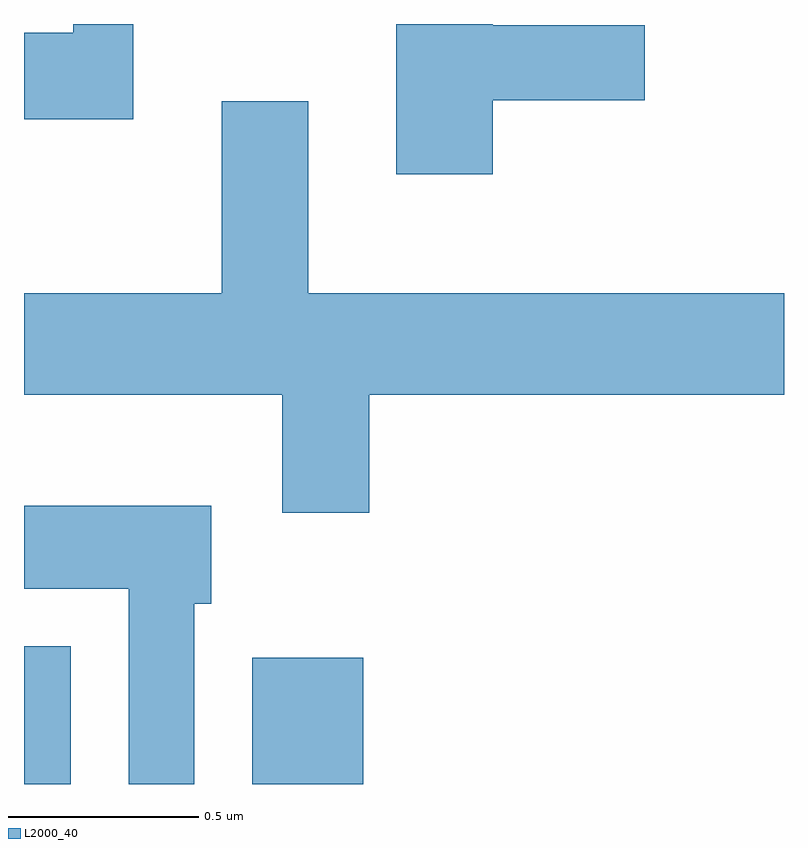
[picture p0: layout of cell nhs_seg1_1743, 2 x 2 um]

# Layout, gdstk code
import gdstk
lib = gdstk.Library(unit=1e-6, precision=1e-09)
def R(c, l, rs):  # rectangles x0, y0, x1, y1
    for r in rs: c.add(gdstk.rectangle(r[:2], r[2:], *l))
def P(c, l, *ps):  # polygons
    for p in ps: c.add(gdstk.Polygon(p, *l))
L2000_40 = (2000, 40)

nhs_seg1_1743 = lib.new_cell('nhs_seg1_1743')
R(nhs_seg1_1743, L2000_40, [(197.611,960.712,197.734,961.074), (198.211,960.712,198.504,961.044)])
P(nhs_seg1_1743, L2000_40, [(197.899,962.712),(197.741,962.712),(197.741,962.689),(197.611,962.689),(197.611,962.461),(197.899,962.461)],
  [(198.844,962.511),(199.244,962.511),(199.244,962.709),(198.844,962.709),(198.844,962.712),(198.591,962.712),(198.591,962.316),(198.844,962.316)],
  [(198.519,961.736),(199.611,961.736),(199.611,962.004),(198.359,962.004),(198.359,962.509),(198.131,962.509),(198.131,962.004),(197.611,962.004),(197.611,961.736),(198.291,961.736),(198.291,961.426),(198.519,961.426)],
  [(198.059,961.186),(198.104,961.186),(198.104,961.444),(197.611,961.444),(197.611,961.226),(197.886,961.226),(197.886,960.712),(198.059,960.712)])

lib.write_gds('nhs_seg1_1743.gds')
